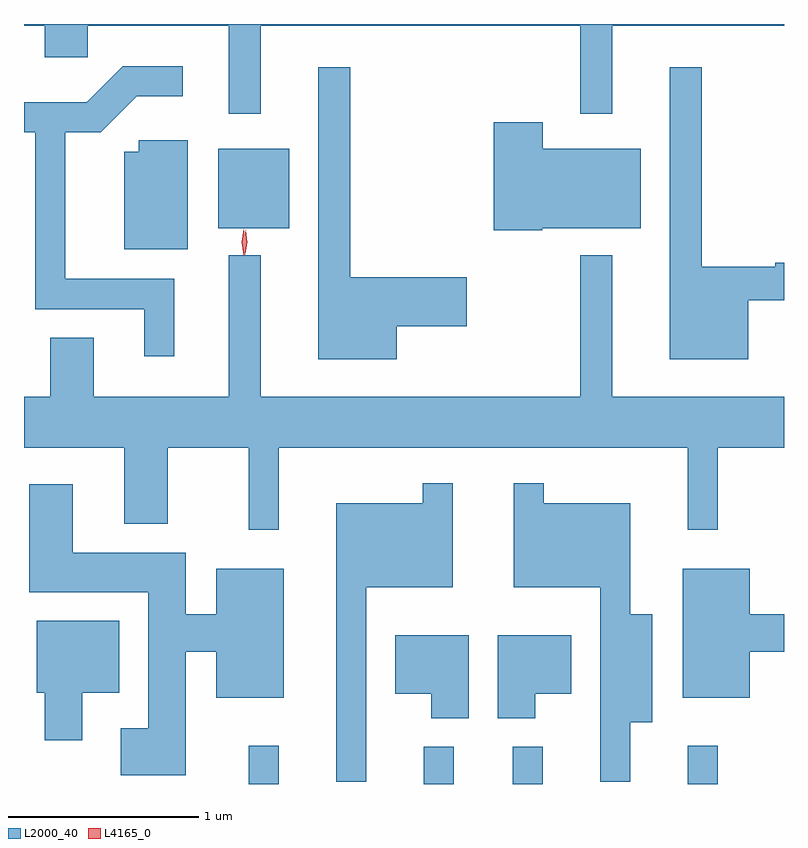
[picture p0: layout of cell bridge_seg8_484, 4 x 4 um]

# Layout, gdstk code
import gdstk
lib = gdstk.Library(unit=1e-6, precision=1e-09)
def R(c, l, rs):  # rectangles x0, y0, x1, y1
    for r in rs: c.add(gdstk.rectangle(r[:2], r[2:], *l))
def P(c, l, *ps):  # polygons
    for p in ps: c.add(gdstk.Polygon(p, *l))
L2000_40 = (2000, 40)
L4165_0 = (4165, 0)

bridge_seg8_484 = lib.new_cell('bridge_seg8_484')
R(bridge_seg8_484, L2000_40, [(332.006,1907.906,332.164,1908.108), (332.926,1907.906,333.084,1908.103), (333.396,1907.906,333.554,1908.103), (334.316,1907.906,334.474,1908.108), (331.846,1910.831,332.219,1911.249)])
P(bridge_seg8_484, L2000_40, [(332.069,1911.896),(333.751,1911.896),(333.751,1911.433),(333.919,1911.433),(333.919,1911.896),(334.823,1911.896),(334.823,1911.906),(330.823,1911.906),(330.823,1911.896),(330.931,1911.896),(330.931,1911.731),(331.159,1911.731),(331.159,1911.896),(331.901,1911.896),(331.901,1911.433),(332.069,1911.433)],
  [(331.614,1910.564),(331.039,1910.564),(331.039,1911.336),(331.227,1911.336),(331.417,1911.526),(331.658,1911.526),(331.658,1911.684),(331.344,1911.684),(331.154,1911.494),(330.823,1911.494),(330.823,1911.336),(330.881,1911.336),(330.881,1910.406),(331.456,1910.406),(331.456,1910.158),(331.614,1910.158)],
  [(334.634,1910.451),(334.823,1910.451),(334.823,1910.649),(334.776,1910.649),(334.776,1910.629),(334.389,1910.629),(334.389,1911.678),(334.221,1911.678),(334.221,1910.141),(334.634,1910.141)],
  [(332.784,1910.316),(333.154,1910.316),(333.154,1910.574),(332.539,1910.574),(332.539,1911.678),(332.371,1911.678),(332.371,1910.141),(332.784,1910.141)],
  [(333.55,1910.831),(334.069,1910.831),(334.069,1911.249),(333.554,1911.249),(333.554,1911.389),(333.296,1911.389),(333.296,1910.821),(333.55,1910.821)],
  [(331.684,1911.294),(331.426,1911.294),(331.426,1911.234),(331.351,1911.234),(331.351,1910.721),(331.684,1910.721)],
  [(332.164,1909.676),(334.316,1909.676),(334.316,1909.243),(334.474,1909.243),(334.474,1909.676),(334.823,1909.676),(334.823,1909.944),(333.919,1909.944),(333.919,1910.688),(333.751,1910.688),(333.751,1909.944),(332.069,1909.944),(332.069,1910.688),(331.901,1910.688),(331.901,1909.944),(331.189,1909.944),(331.189,1910.254),(330.961,1910.254),(330.961,1909.944),(330.823,1909.944),(330.823,1909.676),(331.351,1909.676),(331.351,1909.276),(331.579,1909.276),(331.579,1909.676),(332.006,1909.676),(332.006,1909.243),(332.164,1909.243)],
  [(334.014,1908.231),(334.129,1908.231),(334.129,1908.799),(334.014,1908.799),(334.014,1909.384),(333.559,1909.384),(333.559,1909.488),(333.401,1909.488),(333.401,1908.941),(333.856,1908.941),(333.856,1907.918),(334.014,1907.918)],
  [(332.624,1908.941),(333.079,1908.941),(333.079,1909.488),(332.921,1909.488),(332.921,1909.384),(332.466,1909.384),(332.466,1907.918),(332.624,1907.918)],
  [(331.674,1908.601),(331.836,1908.601),(331.836,1908.361),(332.189,1908.361),(332.189,1909.039),(331.836,1909.039),(331.836,1908.799),(331.674,1908.799),(331.674,1909.124),(331.079,1909.124),(331.079,1909.484),(330.851,1909.484),(330.851,1908.916),(331.476,1908.916),(331.476,1908.199),(331.331,1908.199),(331.331,1907.951),(331.674,1907.951)],
  [(334.644,1908.601),(334.823,1908.601),(334.823,1908.799),(334.644,1908.799),(334.644,1909.039),(334.291,1909.039),(334.291,1908.361),(334.644,1908.361)],
  [(331.129,1908.386),(331.324,1908.386),(331.324,1908.764),(330.891,1908.764),(330.891,1908.386),(330.931,1908.386),(330.931,1908.136),(331.129,1908.136)],
  [(333.514,1908.381),(333.704,1908.381),(333.704,1908.689),(333.316,1908.689),(333.316,1908.251),(333.514,1908.251)],
  [(333.164,1908.689),(332.776,1908.689),(332.776,1908.381),(332.966,1908.381),(332.966,1908.251),(333.164,1908.251)])
P(bridge_seg8_484, L4165_0, [(331.98,1910.689),(331.98,1910.69),(331.97,1910.758),(331.979,1910.826),(331.98,1910.826),(331.98,1910.826),(331.99,1910.758),(331.981,1910.69)],
  [(331.988,1910.693),(331.988,1910.693),(331.979,1910.757),(331.99,1910.821),(331.99,1910.822),(331.991,1910.821),(331.999,1910.757),(331.988,1910.693)])

lib.write_gds('bridge_seg8_484.gds')
